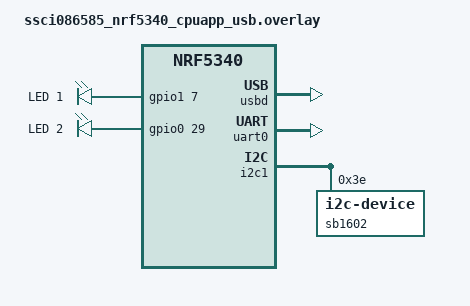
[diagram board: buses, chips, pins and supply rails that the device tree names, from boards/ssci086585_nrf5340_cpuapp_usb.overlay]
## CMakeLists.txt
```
cmake_minimum_required(VERSION 3.20.0)
find_package(Zephyr REQUIRED HINTS $ENV{ZEPHYR_BASE})

project(ncs-i2c-sb1602b)

target_sources(app PRIVATE
    src/main.c
    src/drivers/led.c
    src/drivers/sb1602b.c
)
```

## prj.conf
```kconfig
CONFIG_GPIO=y
CONFIG_I2C=y

# Disable TF-M UART
CONFIG_TFM_SECURE_UART=n
CONFIG_TFM_LOG_LEVEL_SILENCE=y
```

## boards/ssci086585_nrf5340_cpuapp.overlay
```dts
#include "ssci086585_nrf5340.dtsi"
```

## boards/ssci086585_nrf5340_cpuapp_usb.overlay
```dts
// To get started, press Ctrl+Space to bring up the completion menu and view the available nodes.

// You can also use the buttons in the sidebar to perform actions on nodes.
// Actions currently available include:

// * Enabling / disabling the node
// * Adding the bus to a bus
// * Removing the node
// * Connecting ADC channels

// For more help, browse the DeviceTree documentation at https://docs.zephyrproject.org/latest/guides/dts/index.html
// You can also visit the nRF DeviceTree extension documentation at https://docs.nordicsemi.com/bundle/nrf-connect-vscode/page/guides/ncs_configure_app.html#devicetree-support-in-the-extension

/ {
	leds {
		compatible = "gpio-leds";
		led1: led-1 {
			gpios = <&gpio1 7 0>;
			label = "LED 1";
		};

		led2: led-2 {
			gpios = <&gpio0 29 0>;
			label = "LED 2";
		};
	};

	aliases {
		led1 = &led1;
		led2 = &led2;
	};
};

&usbd {
	status = "okay";
};

&uart0 {
	status = "okay";
};

&uart0_default {
	group1 {
		psels = <NRF_PSEL(UART_TX, 0, 13)>,
				<NRF_PSEL(UART_RX, 0, 15)>;
	};
};

&uart0_sleep {
	group1 {
		psels = <NRF_PSEL(UART_TX, 0, 13)>,
				<NRF_PSEL(UART_RX, 0, 15)>;
		low-power-enable;
	};
};

&i2c1_default {
	group1 {
		psels = <NRF_PSEL(TWIM_SDA, 0, 7)>,
				<NRF_PSEL(TWIM_SCL, 0, 9)>;
	};
};

&i2c1_sleep {
	group1 {
		psels = <NRF_PSEL(TWIM_SDA, 0, 7)>,
				<NRF_PSEL(TWIM_SCL, 0, 9)>;
	};
};

&i2c1 {
	status = "okay";

	sb1602: sb1602@3e{
		compatible = "i2c-device";
		status = "okay";
		reg = < 0x3e >;
	};
};
```

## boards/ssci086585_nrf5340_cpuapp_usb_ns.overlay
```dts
#include "ssci086585_nrf5340.dtsi"
#include "ssci086585_nrf5340_usb.dtsi"
```

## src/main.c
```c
#include <zephyr/kernel.h>
#include <zephyr/sys/printk.h>

#include "drivers/led/led.h"
#include "drivers/sb1602/sb1602b.h"

#if defined CONFIG_BOARD_SSCI086585_NRF5340_CPUAPP

#define MESSAGE "Hello,nRF5340!"

#elif defined CONFIG_BOARD_SSCI086585_NRF5340_CPUAPP_NS

#define MESSAGE "Hello,nRF5340ns!"

#else

#error "This configuration not supported."

#endif

static void startup(void);

int main(void)
{
    int ret;

#ifdef CONFIG_USB_DEVICE_STACK
    if (IS_ENABLED(CONFIG_USB_DEVICE_STACK)) {
        int ret = usb_enable(NULL);
        if (ret) {
            return -1;
        }
    }
#endif

    ret = led_init();
    if (ret != 0) {
        printk("fail led_init(): ret=%d\n", ret);
        return -1;
    }

    startup();

    ret = sb1602b_init();
    if (ret != 0) {
        printk("fail sb1602b_init(): ret=%d\n", ret);
        return -1;
    }
    k_msleep(1000); // LCDが消えている状態を目視したいので待たせる

    sb1602b_print(MESSAGE);
    printk("done.\n");

    return 0;
}

static void startup(void)
{
    for (int lp = 0; lp < 3; lp++) {
        led_set(1);
        k_msleep(500);
        led_set(0);
        k_msleep(500);
    }
}
```
